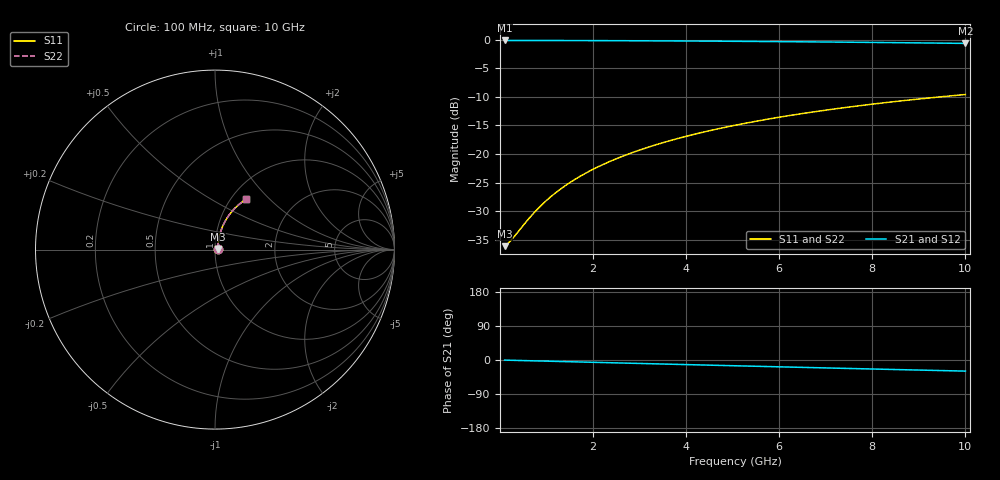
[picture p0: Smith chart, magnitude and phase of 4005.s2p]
# Hz S RI R 50.00
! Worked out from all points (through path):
!   100 points, 100 MHz to 10 GHz, reference 50 ohm
!   highest |S21| = -0.13 dB at 100 MHz (marker M1); lowest = -0.6 dB at 10 GHz (marker M2)
!   group delay of S21, straight-line fit = 8.17 ps
!   lowest |S11| = -36.1 dB at 100 MHz (marker M3), VSWR 1.03, Z = 51.5 + j0.363 ohm
!   |S11| at or under -10 dB: start of sweep to 9.469 GHz
!   |S22| runs from -36.1 to -9.6 dB; largest |S21 - S12| = 0
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1e8  0.0152 0.00352  0.9848 -0.00524  0.9848 -0.00524  0.0152 0.00352
2e8  0.0153 0.00703  0.9846 -0.0105  0.9846 -0.0105  0.0153 0.00703
3e8  0.0155 0.0105  0.9845 -0.0157  0.9845 -0.0157  0.0155 0.0105
5e8  0.0159 0.0176  0.984 -0.0262  0.984 -0.0262  0.0159 0.0176
7e8  0.0164 0.0246  0.9835 -0.0366  0.9835 -0.0366  0.0164 0.0246
8e8  0.0168 0.0281  0.9831 -0.0418  0.9831 -0.0418  0.0168 0.0281
1e9  0.0175 0.035  0.9823 -0.0523  0.9823 -0.0523  0.0175 0.035
1.2e9  0.0184 0.042  0.9814 -0.0627  0.9814 -0.0627  0.0184 0.042
1.4e9  0.0194 0.0489  0.9803 -0.073  0.9803 -0.073  0.0194 0.0489
1.6e9  0.0206 0.0558  0.979 -0.0834  0.979 -0.0834  0.0206 0.0558
1.8e9  0.0219 0.0627  0.9776 -0.0937  0.9776 -0.0937  0.0219 0.0627
2.1e9  0.0241 0.073  0.9752 -0.1091  0.9752 -0.1091  0.0241 0.073
2.5e9  0.0275 0.0865  0.9715 -0.1295  0.9715 -0.1295  0.0275 0.0865
2.9e9  0.0315 0.0998  0.9672 -0.1498  0.9672 -0.1498  0.0315 0.0998
3.4e9  0.0373 0.1162  0.9609 -0.1747  0.9609 -0.1747  0.0373 0.1162
4.2e9  0.0482 0.1415  0.9491 -0.2139  0.9491 -0.2139  0.0482 0.1415
5.1e9  0.0628 0.1686  0.9332 -0.2565  0.9332 -0.2565  0.0628 0.1686
5.9e9  0.0777 0.1912  0.917 -0.293  0.917 -0.293  0.0777 0.1912
6.7e9  0.0942 0.2122  0.8989 -0.328  0.8989 -0.328  0.0942 0.2122
7.5e9  0.1121 0.2317  0.8793 -0.3614  0.8793 -0.3614  0.1121 0.2317
8.4e9  0.1338 0.2515  0.8554 -0.3969  0.8554 -0.3969  0.1338 0.2515
1e10  0.1753 0.2811  0.8093 -0.4545  0.8093 -0.4545  0.1753 0.2811
